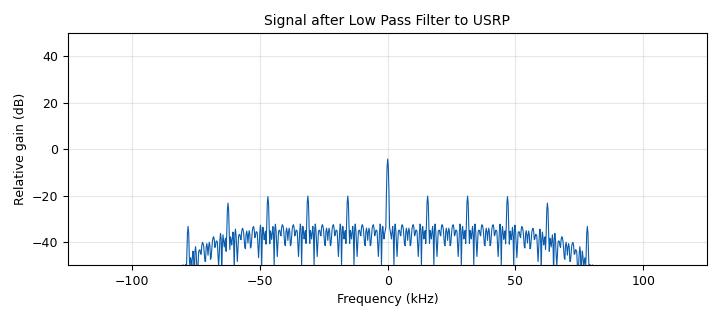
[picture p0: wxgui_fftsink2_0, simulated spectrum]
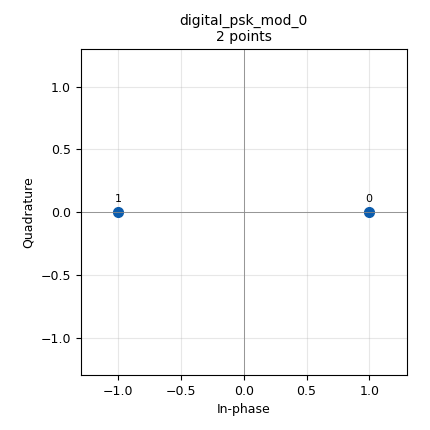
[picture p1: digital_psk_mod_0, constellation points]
<?xml version='1.0' encoding='utf-8'?>
<?grc format='1' created='3.7.11'?>
<flow_graph>
<block>
<key>options</key>
<param><key>id</key><value>top_block</value></param>
<param><key>category</key><value>Custom</value></param>
<param><key>generate_options</key><value>wx_gui</value></param>
</block>
<block>
<key>variable_slider</key>
<param><key>id</key><value>freq_selection</value></param>
<param><key>converver</key><value>float_converter</value></param>
<param><key>value</key><value>94.9e6</value></param>
<param><key>grid_pos</key><value>1,0,1,37</value></param>
<param><key>label</key><value>Frequency Selection to Transmmit</value></param>
<param><key>max</key><value>100e6</value></param>
<param><key>min</key><value>90e6</value></param>
<param><key>notebook</key><value>notebook2,0</value></param>
<param><key>num_steps</key><value>1000</value></param>
<param><key>style</key><value>wx.SL_HORIZONTAL</value></param>
</block>
<block>
<key>variable_slider</key>
<param><key>id</key><value>input_level</value></param>
<param><key>converver</key><value>float_converter</value></param>
<param><key>value</key><value>0.9</value></param>
<param><key>grid_pos</key><value>0,0,1,37</value></param>
<param><key>label</key><value>Signal Input Level</value></param>
<param><key>max</key><value>10</value></param>
<param><key>min</key><value>0</value></param>
<param><key>notebook</key><value>notebook2,0</value></param>
<param><key>num_steps</key><value>1000</value></param>
<param><key>style</key><value>wx.SL_HORIZONTAL</value></param>
</block>
<block>
<key>variable_slider</key>
<param><key>id</key><value>low_pass_gain</value></param>
<param><key>converver</key><value>float_converter</value></param>
<param><key>value</key><value>0.9</value></param>
<param><key>label</key><value></value></param>
<param><key>max</key><value>1</value></param>
<param><key>min</key><value>0</value></param>
<param><key>notebook</key><value>notebook2,0</value></param>
<param><key>num_steps</key><value>100</value></param>
<param><key>style</key><value>wx.SL_HORIZONTAL</value></param>
</block>
<block>
<key>variable</key>
<param><key>id</key><value>samp_rate</value></param>
<param><key>value</key><value>44.1e3</value></param>
</block>
<block>
<key>variable_slider</key>
<param><key>id</key><value>usrp_gain</value></param>
<param><key>converver</key><value>float_converter</value></param>
<param><key>value</key><value>15</value></param>
<param><key>label</key><value></value></param>
<param><key>max</key><value>20</value></param>
<param><key>min</key><value>0</value></param>
<param><key>notebook</key><value>notebook2,0</value></param>
<param><key>num_steps</key><value>100</value></param>
<param><key>style</key><value>wx.SL_HORIZONTAL</value></param>
</block>
<block>
<key>digital_glfsr_source_x</key>
<param><key>id</key><value>digital_glfsr_source_x_0</value></param>
<param><key>degree</key><value>9</value></param>
<param><key>mask</key><value>0</value></param>
<param><key>repeat</key><value>True</value></param>
<param><key>seed</key><value>1</value></param>
<param><key>type</key><value>byte</value></param>
</block>
<block>
<key>digital_psk_mod</key>
<param><key>id</key><value>digital_psk_mod_0</value></param>
<param><key>differential</key><value>False</value></param>
<param><key>excess_bw</key><value>0.35</value></param>
<param><key>mod_code</key><value>"none"</value></param>
<param><key>constellation_points</key><value>2</value></param>
<param><key>samples_per_symbol</key><value>2</value></param>
</block>
<block>
<key>notebook</key>
<param><key>id</key><value>notebook</value></param>
<param><key>grid_pos</key><value>0,0,1,1</value></param>
<param><key>labels</key><value>['tab0', 'tab1', 'tab2']</value></param>
<param><key>style</key><value>wx.NB_TOP</value></param>
</block>
<block>
<key>notebook</key>
<param><key>id</key><value>notebook2</value></param>
<param><key>grid_pos</key><value>1,0,1,1</value></param>
<param><key>labels</key><value>['tab1',]</value></param>
<param><key>style</key><value>wx.NB_TOP</value></param>
</block>
<block>
<key>osmosdr_sink</key>
<param><key>id</key><value>osmosdr_sink_0</value></param>
<param><key>bb_gain0</key><value>40</value></param>
<param><key>freq0</key><value>freq_selection</value></param>
<param><key>if_gain0</key><value>40</value></param>
<param><key>gain0</key><value>40</value></param>
<param><key>type</key><value>fc32</value></param>
<param><key>sample_rate</key><value>250000</value></param>
<param><key>sync</key><value></value></param>
</block>
<block>
<key>wxgui_fftsink2</key>
<param><key>id</key><value>wxgui_fftsink2_0</value></param>
<param><key>avg_alpha</key><value>0</value></param>
<param><key>average</key><value>False</value></param>
<param><key>baseband_freq</key><value>0</value></param>
<param><key>fft_size</key><value>1024</value></param>
<param><key>freqvar</key><value>None</value></param>
<param><key>grid_pos</key><value>0,0,1,1</value></param>
<param><key>notebook</key><value>notebook,2</value></param>
<param><key>peak_hold</key><value>False</value></param>
<param><key>ref_level</key><value>50</value></param>
<param><key>ref_scale</key><value>2.0</value></param>
<param><key>fft_rate</key><value>30</value></param>
<param><key>samp_rate</key><value>250000</value></param>
<param><key>title</key><value>Signal after Low Pass Filter to USRP</value></param>
<param><key>type</key><value>complex</value></param>
<param><key>win</key><value>None</value></param>
<param><key>y_divs</key><value>10</value></param>
<param><key>y_per_div</key><value>10</value></param>
</block>
<connection><source_block_id>digital_glfsr_source_x_0</source_block_id><sink_block_id>digital_psk_mod_0</sink_block_id><source_key>0</source_key><sink_key>0</sink_key></connection>
<connection><source_block_id>digital_psk_mod_0</source_block_id><sink_block_id>osmosdr_sink_0</sink_block_id><source_key>0</source_key><sink_key>0</sink_key></connection>
<connection><source_block_id>digital_psk_mod_0</source_block_id><sink_block_id>wxgui_fftsink2_0</sink_block_id><source_key>0</source_key><sink_key>0</sink_key></connection>
</flow_graph>
